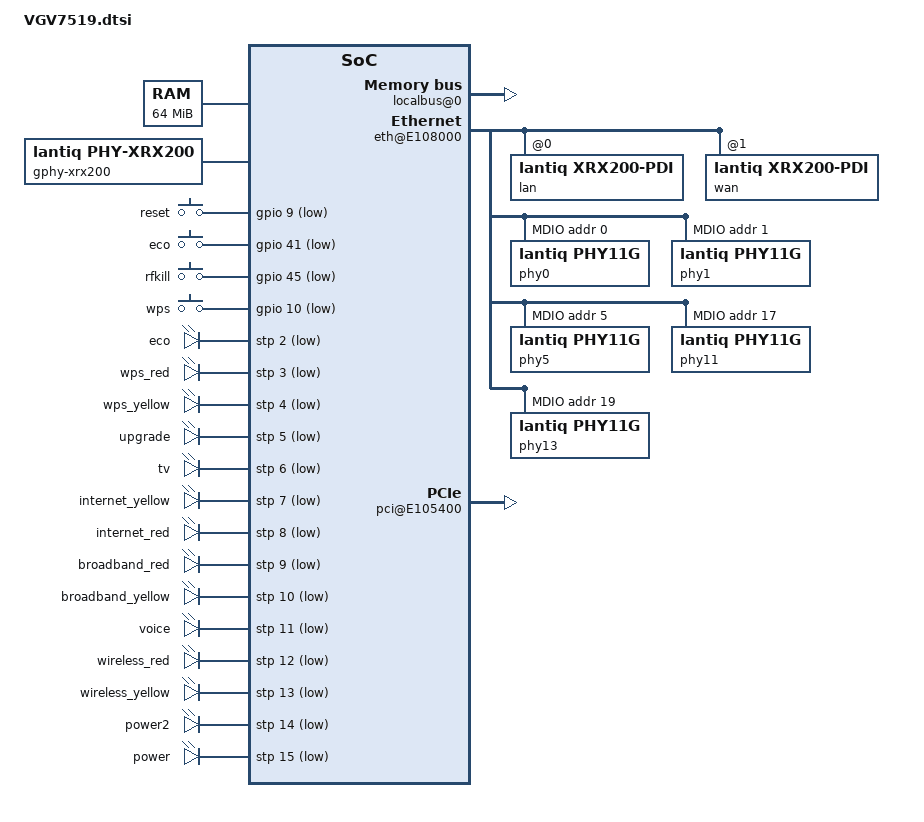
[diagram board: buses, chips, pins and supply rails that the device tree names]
/include/ "vr9.dtsi"

/ {
	chosen {
		bootargs = "console=ttyLTQ0,115200 init=/etc/preinit";
	};

	memory@0 {
		reg = <0x0 0x4000000>;
	};
	
	fpi@10000000 {
		#address-cells = <1>;
		#size-cells = <1>;
		compatible = "lantiq,fpi", "simple-bus";
		ranges = <0x0 0x10000000 0xEEFFFFF>;
		reg = <0x10000000 0xEF00000>;

		localbus@0 {
			#address-cells = <2>;
			#size-cells = <1>;
			compatible = "lantiq,localbus", "simple-bus";
		};

		gpio: pinmux@E100B10 {
			compatible = "lantiq,pinctrl-xr9";
			pinctrl-names = "default";
			pinctrl-0 = <&state_default>;
			
			interrupt-parent = <&icu0>;
			interrupts = <166 135 66 40 41 42 38>;

			#gpio-cells = <2>;
			gpio-controller;
			reg = <0xE100B10 0xA0>;

			state_default: pinmux {
				exin3 {
					lantiq,groups = "exin3";
					lantiq,function = "exin";
				};
				stp {
					lantiq,groups = "stp";
					lantiq,function = "stp";
				};
				spi {
					lantiq,groups = "spi", "spi_cs4";
					lantiq,function = "spi";
				};
				mdio {
					lantiq,groups = "mdio";
					lantiq,function = "mdio";
				};
				pci {
					lantiq,groups = "gnt1", "req1";
					lantiq,function = "pci";
				};
				conf_out {
					lantiq,pins = "io4", "io5", "io6", /* stp */
							"io21",
							"io33",
							"io7", "io44"; /* Internal ethernet phy leds */
					lantiq,open-drain;
					lantiq,pull = <0>;
					lantiq,output = <1>;
				};
				pcie-rst {
					lantiq,pins = "io38";
					lantiq,pull = <0>;
					lantiq,output = <1>;
				};
				conf_in {
					lantiq,pins = "io39"; /* exin3 */
					lantiq,pull = <2>;
				};
			};
		};

		eth@E108000 {
			#address-cells = <1>;
			#size-cells = <0>;
			compatible = "lantiq,xrx200-net";
			reg = <	0xE108000 0x3000 /* switch */
				0xE10B100 0x70 /* mdio */
				0xE10B1D8 0x30 /* mii */
				0xE10B308 0x30 /* pmac */
			>;
			interrupt-parent = <&icu0>;
			interrupts = <73 72>;

			lan: interface@0 {
				compatible = "lantiq,xrx200-pdi";
				#address-cells = <1>;
				#size-cells = <0>;
				reg = <0>;
				mac-address = [ 00 11 22 33 44 55 ];

				ethernet@0 {
					compatible = "lantiq,xrx200-pdi-port";
					reg = <0>;
					phy-mode = "rgmii";
					phy-handle = <&phy0>;
				};
				ethernet@1 {
					compatible = "lantiq,xrx200-pdi-port";
					reg = <1>;
					phy-mode = "rgmii";
					phy-handle = <&phy1>;
				};
				ethernet@2 {
					compatible = "lantiq,xrx200-pdi-port";
					reg = <2>;
					phy-mode = "gmii";
					phy-handle = <&phy11>;
				};
				ethernet@4 {
					compatible = "lantiq,xrx200-pdi-port";
					reg = <4>;
					phy-mode = "gmii";
					phy-handle = <&phy13>;
				};
			};

			wan: interface@1 {
				compatible = "lantiq,xrx200-pdi";
				#address-cells = <1>;
				#size-cells = <0>;
				reg = <1>;
				mac-address = [ 00 11 22 33 44 56 ];
				lantiq,wan;
				ethernet@5 {
					compatible = "lantiq,xrx200-pdi-port";
					reg = <5>;
					phy-mode = "rgmii";
					phy-handle = <&phy5>;
				};
			};

			mdio@0 {
				#address-cells = <1>;
				#size-cells = <0>;
				compatible = "lantiq,xrx200-mdio";
				phy0: ethernet-phy@0 {
					reg = <0x0>;
					compatible = "lantiq,phy11g", "ethernet-phy-ieee802.3-c22";
					lantiq,c45-reg-init = <1 0 0 0>; 
				};
				phy1: ethernet-phy@1 {
					reg = <0x1>;
					compatible = "lantiq,phy11g", "ethernet-phy-ieee802.3-c22";
					lantiq,c45-reg-init = <1 0 0 0>; 
				};
				phy5: ethernet-phy@5 {
					reg = <0x5>;
					compatible = "lantiq,phy11g", "ethernet-phy-ieee802.3-c22";
					lantiq,c45-reg-init = <1 0 0 0>; 
				};
				phy11: ethernet-phy@11 {
					reg = <0x11>;
					compatible = "lantiq,phy11g", "ethernet-phy-ieee802.3-c22";
					lantiq,c45-reg-init = <1 0 0 0>; 
				};
				phy13: ethernet-phy@13 {
					reg = <0x13>;
					compatible = "lantiq,phy11g", "ethernet-phy-ieee802.3-c22";
					lantiq,c45-reg-init = <1 0 0 0>; 
				};
			};
		};

		stp: stp@E100BB0 {
			compatible = "lantiq,gpio-stp-xway";
			reg = <0xE100BB0 0x40>;
			#gpio-cells = <2>;
			gpio-controller;

			lantiq,shadow = <0xffff>;
			lantiq,groups = <0x3>;
			lantiq,dsl = <0x0>;
			lantiq,phy1 = <0x0>;
			lantiq,phy2 = <0x0>;
			/* lantiq,rising; */
		};

		ifxhcd@E101000 {
			status = "okay";
			gpios = <&gpio 32 0>;
			lantiq,portmask = <0x3>;
		};

		pci@E105400 {
			#address-cells = <3>;
			#size-cells = <2>;
			#interrupt-cells = <1>;
			compatible = "lantiq,pci-xway1";
			bus-range = <0x0 0x0>;
			ranges = <0x2000000 0 0x8000000 0x8000000 0 0x2000000   /* pci memory */
				0x1000000 0 0x00000000 0xAE00000 0 0x200000>; /* io space */
			reg = <0x7000000 0x8000         /* config space */
				0xE105400 0x400>;       /* pci bridge */
			lantiq,bus-clock = <33333333>;
			/*lantiq,external-clock;*/
			lantiq,delay-hi = <0>; /* 0ns delay */
			lantiq,delay-lo = <0>; /* 0.0ns delay */
			interrupt-map-mask = <0xf800 0x0 0x0 0x7>;
			interrupt-map = <
				0x7000 0 0 1 &icu0 29 1 // slot 14, irq 29
				>;
			gpios-reset = <&gpio 21 0>;
			req-mask = <0x1>;	/* GNT1 */
		};
	};

	gphy-xrx200 {
		compatible = "lantiq,phy-xrx200";
		firmware = "lantiq/vr9_phy11g_a1x.bin";
		phys = [ 00 01 ];
	};

	gpio-keys-polled {
		compatible = "gpio-keys-polled";
		#address-cells = <1>;
		#size-cells = <0>;
		poll-interval = <100>;
		reset {
			label = "reset";
			gpios = <&gpio 9 1>;
			linux,code = <0x198>;
		};
		eco {
			label = "eco";
			gpios = <&gpio 41 1>;
			linux,code = <247>;
		};
		rfkill {
			label = "rfkill";
			gpios = <&gpio 45 1>;
			linux,code = <0xf7>;
		};
		wps {
			gpios = <&gpio 10 1>;
			linux,code = <0x211>;
		};
	};

	gpio-leds {
		compatible = "gpio-leds";

		eco {					/* blue */
			label = "eco";
			gpios = <&stp 2 1>;
		};
		wps_red {				/* red */
			label = "wps_red";
			gpios = <&stp 3 1>;
		};
		wps_yellow {				/* yellow */
			label = "wps_yellow";
			gpios = <&stp 4 1>;
		};
		upgrade {				/* blue */
			label = "upgrade";
			gpios = <&stp 5 1>;
		};
		tv {					/* yellow */
			label = "tv";
			gpios = <&stp 6 1>;
		};
		internet_yellow {			/* yellow */
			label = "internet_yellow";
			gpios = <&stp 7 1>;
		};
		internet_red {				/* red */
			label = "internet_red";
			gpios = <&stp 8 1>;
		};
		broadband_red {				/* red */
			label = "broadband_red";
			gpios = <&stp 9 1>;
		};
		broadband_yellow {			/* yellow */
			label = "broadband_yellow";
			gpios = <&stp 10 1>;
		};
		voice {					/* yellow */
			label = "voice";
			gpios = <&stp 11 1>;
		};
		wireless_red {				/* red */
			label = "wireless_red";
			gpios = <&stp 12 1>;
		};
		wireless_yellow {			/* yellow */
			label = "wireless_yellow";
			gpios = <&stp 13 1>;
		};
		power2 {				/* yellow */
			label = "power2";
			gpios = <&stp 14 1>;
		};
		power {					/* red */
			label = "power";
			gpios = <&stp 15 1>;
			default-state = "on";
		};
	};
};
